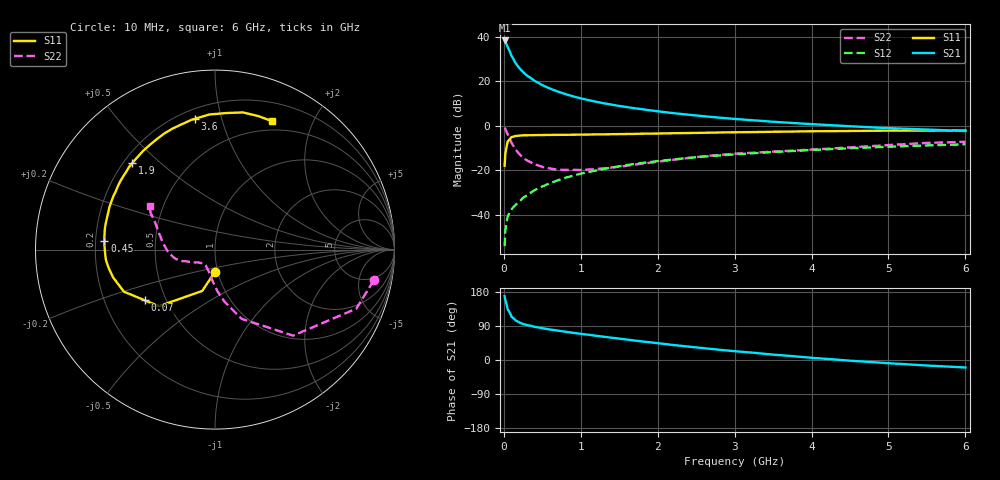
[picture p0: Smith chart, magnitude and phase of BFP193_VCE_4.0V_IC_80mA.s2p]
! Infineon Technologies  Discrete & RF Semiconductors
! BFP193
! VCE =  4.0 V,  IC =  80 mA
! Common Emitter S-Parameters:  Jan 2017
# GHz  S  MA  R  50
!  f  S11  S21  S12  S22
! GHz  MAG  ANG  MAG  ANG  MAG  ANG  MAG  ANG
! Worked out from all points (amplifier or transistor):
!   77 points, 10 MHz to 6 GHz, reference 50 ohm
!   highest |S21| = 38.2 dB at 10 MHz (marker M1)
!   |S21| within 3 dB of that: start of sweep to 51.1 MHz
!   unconditionally stable (mu >= 1): 389 MHz to 2.383 GHz
!   at 130 MHz: K = 0.74, MSG = 32.9 dB, |S12| = -36.2 dB
!   at 2.2 GHz: K = 1.01, MAG = 9.8 dB, |S12| = -15.1 dB
!   at 6 GHz: K = 0.93, MSG = 3.0 dB, |S12| = -8.3 dB
!   S11 on the Smith chart (normalised r, x): 10 MHz: 0.96, -0.25; 70 MHz: 0.38, -0.28; 450 MHz: 0.24, +0.04; 1.9 GHz: 0.23, +0.41; 3.6 GHz: 0.26, +0.82; 6 GHz: 0.40, +1.46
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0.01  0.1269 -91.0  81.74 168.3  0.002 85.1  0.9007 -11.0
0.02  0.2411 -107.2  77.96 157.6  0.0046 83.9  0.8533 -22.7
0.05  0.444 -134.8  58.4 133.4  0.0091 64.6  0.6468 -47.8
0.07  0.4824 -144.1  49.15 127.7  0.0108 63.5  0.5452 -54.1
0.1  0.5592 -155.2  36.76 114.0  0.0134 62.4  0.4126 -69.0
0.15  0.589 -164.9  25.84 104.9  0.0167 63.7  0.2962 -79.5
0.2  0.602 -170.5  19.8 99.2  0.0198 66.7  0.2334 -86.5
0.25  0.6104 -174.6  16 95.1  0.0244 67.3  0.1941 -91.3
0.3  0.6123 -177.6  13.39 92.3  0.0274 69.0  0.1672 -96.1
0.4  0.6173 177.4  10.16 87.5  0.036 70.9  0.1366 -102.7
0.45  0.6184 175.4  9.147 85.9  0.0398 71.2  0.1281 -105.6
0.6  0.6239 169.9  6.82 80.4  0.0516 71.5  0.1102 -114.7
0.7  0.626 167.0  5.853 77.6  0.0596 71.6  0.1037 -118.9
0.9  0.6297 160.8  4.56 71.8  0.0759 69.9  0.1026 -126.5
1.1  0.6364 155.1  3.76 66.6  0.092 67.9  0.1044 -132.9
1.9  0.6669 133.8  2.223 46.8  0.1538 58.1  0.1481 -152.4
2.1  0.6746 128.7  2.015 42.1  0.1684 55.5  0.1644 -156.0
3.1  0.7173 107.5  1.382 21.6  0.2337 42.3  0.2413 -171.5
3.6  0.7372 98.8  1.201 12.6  0.263 36.4  0.2688 -179.8
4.1  0.7543 91.0  1.065 4.4  0.2913 30.3  0.299 170.6
5.1  0.7796 77.2  0.871 -9.7  0.3434 18.5  0.3773 154.2
6  0.7826 66.2  0.762 -19.8  0.3836 8.4  0.4377 146.2
